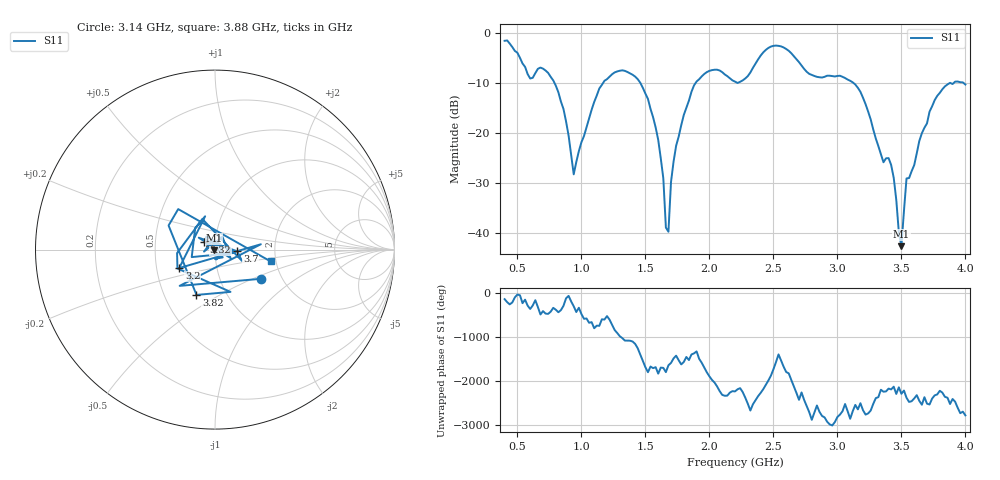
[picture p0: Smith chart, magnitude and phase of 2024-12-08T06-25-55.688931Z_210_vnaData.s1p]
!Created with skrf (http://scikit-rf.org).
# Hz S RI R 50.0
!freq ReS11 ImS11
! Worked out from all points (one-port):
!   181 points, 400 MHz to 4 GHz, reference 50 ohm
!   lowest |S11| = -42.7 dB at 3.5 GHz (marker M1), VSWR 1.01, Z = 49.5 - j0.477 ohm
!   |S11| at or under -10 dB: 789.3 MHz to 1.17 GHz (380.6 MHz wide, 38.9 % of centre); 1.46 GHz to 1.893 GHz (432.5 MHz wide, 25.8 % of centre); 3.125 GHz to 3.88 GHz (755.1 MHz wide, 21.6 % of centre) (the widest 3 of 6)
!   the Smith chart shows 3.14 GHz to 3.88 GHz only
!   S11 on the Smith chart (normalised r, x): 3.14 GHz: 1.57, -0.56; 3.2 GHz: 0.66, -0.14; 3.32 GHz: 0.88, +0.07; 3.7 GHz: 1.28, -0.02; 3.82 GHz: 0.72, -0.39; 3.88 GHz: 1.87, -0.27
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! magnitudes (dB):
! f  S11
! 400 MHz  -1.6
! 860 MHz  -15.2
! 940 MHz  -28.3
! 1.14 GHz  -11.1
! 1.3 GHz  -7.6
! 1.52 GHz  -13.2
! 1.6 GHz  -21.4
! 1.64 GHz  -29.1
! 1.66 GHz  -39.0
! 1.68 GHz  -39.8
! 1.7 GHz  -29.9
! 1.76 GHz  -20.8
! 1.94 GHz  -8.7
! 2.2 GHz  -9.7
! 2.48 GHz  -2.7
! 2.66 GHz  -4.7
! 3.1 GHz  -9.6
! 3.14 GHz  -10.3
! 3.2 GHz  -13.0
! 3.32 GHz  -22.7
! 3.42 GHz  -26.5
! 3.5 GHz  -42.7
! 3.54 GHz  -29.2
! 3.56 GHz  -29.1
! 3.7 GHz  -18.1
! 3.82 GHz  -11.3
! 3.88 GHz  -10.0
! 4 GHz  -10.3
